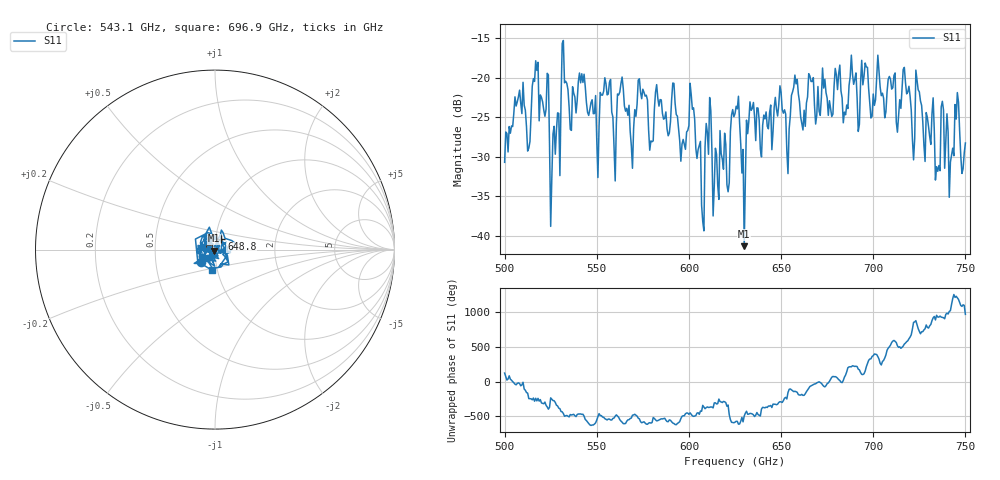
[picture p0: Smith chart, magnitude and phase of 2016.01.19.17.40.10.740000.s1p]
!Created with skrf (http://scikit-rf.org).
# GHz S RI R 50.0
!freq ReS11 ImS11
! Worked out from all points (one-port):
!   401 points, 500 GHz to 750 GHz, reference 50 ohm
!   lowest |S11| = -41.3 dB at 630 GHz (marker M1), VSWR 1.02, Z = 49.4 - j0.578 ohm
!   |S11| at or under -10 dB: start of sweep to end of sweep
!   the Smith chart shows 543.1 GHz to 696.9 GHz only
!   S11 on the Smith chart (normalised r, x): 543.1 GHz: 0.85, -0.12; 648.8 GHz: 1.07, +0.12; 696.9 GHz: 0.94, -0.22
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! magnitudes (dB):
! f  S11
! 500 GHz  -30.7
! 506.9 GHz  -23.1
! 513.1 GHz  -28.9
! 516.9 GHz  -17.9
! 526.2 GHz  -27.1
! 531.2 GHz  -15.7
! 543.1 GHz  -19.6
! 559.4 GHz  -28.8
! 562.5 GHz  -21.8
! 569.4 GHz  -31.5
! 573.8 GHz  -21.8
! 579.4 GHz  -28.0
! 593.8 GHz  -24.9
! 601.9 GHz  -24.0
! 607.5 GHz  -38.2
! 610.6 GHz  -29.7
! 614.4 GHz  -28.9
! 625 GHz  -24.6
! 630 GHz  -41.3
! 633.8 GHz  -24.1
! 648.8 GHz  -23.4
! 656.2 GHz  -21.8
! 687.5 GHz  -19.9
! 696.9 GHz  -18.7
! 718.8 GHz  -21.8
! 735 GHz  -31.9
! 745.6 GHz  -21.9
! 750 GHz  -28.3
